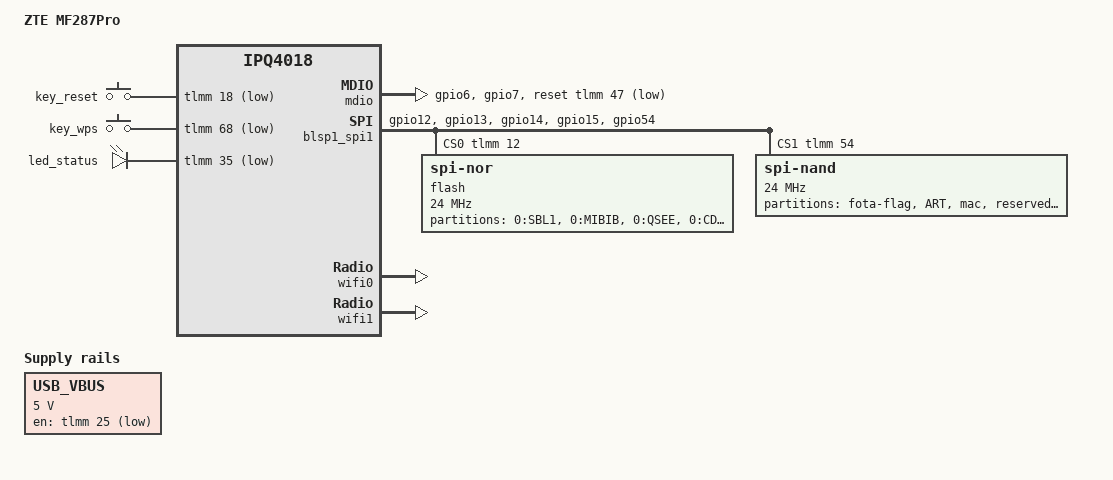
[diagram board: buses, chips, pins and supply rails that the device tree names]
// SPDX-License-Identifier: GPL-2.0-or-later OR MIT
// Copyright (c) 2022, Pawel Dembicki <paweldembicki@gmail.com>.
// Copyright (c) 2022, Giammarco Marzano <stich86@gmail.com>.
// Copyright (c) 2023, Andreas Böhler <dev@aboehler.at>

#include "qcom-ipq4018-mf287_common.dtsi"

/ {
	model = "ZTE MF287Pro";
	compatible = "zte,mf287pro";

	regulator-usb-vbus {
		compatible = "regulator-fixed";
		regulator-name = "USB_VBUS";
		regulator-min-microvolt = <5000000>;
		regulator-max-microvolt = <5000000>;
		regulator-always-on;
		regulator-boot-on;
		gpio = <&tlmm 25 GPIO_ACTIVE_LOW>;
	};
};

&gpio_modem_reset {
	gpios = <&tlmm 8 GPIO_ACTIVE_HIGH>;
};

&key_reset {
	gpios = <&tlmm 18 GPIO_ACTIVE_LOW>;
};

&key_wps {
	gpios = <&tlmm 68 GPIO_ACTIVE_LOW>;
};

&led_status {
	gpios = <&tlmm 35 GPIO_ACTIVE_LOW>;
};

&mdio {
	status = "okay";
	pinctrl-0 = <&mdio_pins>;
	pinctrl-names = "default";
	reset-gpios = <&tlmm 47 GPIO_ACTIVE_LOW>;
	reset-delay-us = <2000>;
};

&blsp1_spi1 {
	pinctrl-0 = <&spi_0_pins>;
	pinctrl-names = "default";
	status = "okay";
	cs-gpios = <&tlmm 12 GPIO_ACTIVE_HIGH>,
				<&tlmm 54 GPIO_ACTIVE_HIGH>;

	flash@0 {
		compatible = "jedec,spi-nor";
		#address-cells = <1>;
		#size-cells = <1>;
		reg = <0>;
		spi-max-frequency = <24000000>;

		partitions {
			compatible = "fixed-partitions";
			#address-cells = <1>;
			#size-cells = <1>;

			partition@0 {
				label = "0:SBL1";
				reg = <0x0 0x40000>;
				read-only;
			};

			partition@40000 {
				label = "0:MIBIB";
				reg = <0x40000 0x20000>;
				read-only;
			};

			partition@60000 {
				label = "0:QSEE";
				reg = <0x60000 0x60000>;
				read-only;
			};

			partition@c0000 {
				label = "0:CDT";
				reg = <0xc0000 0x10000>;
				read-only;
			};

			partition@d0000 {
				label = "0:DDRPARAMS";
				reg = <0xd0000 0x10000>;
				read-only;
			};

			partition@e0000 {
				label = "0:APPSBLENV";
				reg = <0xe0000 0x10000>;
				read-only;
			};

			partition@f0000 {
				label = "0:APPSBL";
				reg = <0xf0000 0xc0000>;
				read-only;
			};

			partition@1b0000 {
				label = "0:reserved1";
				reg = <0x1b0000 0x50000>;
				read-only;
			};
		};
	};

	spi-nand@1 { /* flash@1 ? */
		compatible = "spi-nand";
		reg = <1>;
		spi-max-frequency = <24000000>;

		partitions {
			compatible = "fixed-partitions";
			#address-cells = <1>;
			#size-cells = <1>;

			partition@0 {
				label = "fota-flag";
				reg = <0x0 0xa0000>;
				read-only;
			};

			partition@a0000 {
				label = "ART";
				reg = <0xa0000 0x80000>;
				read-only;

				nvmem-layout {
					compatible = "fixed-layout";
					#address-cells = <1>;
					#size-cells = <1>;

					precal_art_1000: precal@1000 {
						reg = <0x1000 0x2f20>;
					};

					precal_art_5000: precal@5000 {
						reg = <0x5000 0x2f20>;
					};
				};
			};

			partition@120000 {
				label = "mac";
				reg = <0x120000 0x80000>;
				read-only;

				nvmem-layout {
					compatible = "fixed-layout";
					#address-cells = <1>;
					#size-cells = <1>;

					macaddr_mac_0: macaddr@0 {
						compatible = "mac-base";
						reg = <0x0 0x6>;
						#nvmem-cell-cells = <1>;
					};
				};
			};

			partition@1a0000 {
				label = "reserved2";
				reg = <0x1a0000 0xc0000>;
			};

			partition@260000 {
				label = "cfg-param";
				reg = <0x260000 0x400000>;
				read-only;
			};

			partition@660000 {
				label = "log";
				reg = <0x660000 0x400000>;
			};

			partition@a60000 {
				label = "oops";
				reg = <0xa60000 0xa0000>;
			};

			partition@b00000 {
				label = "reserved3";
				reg = <0xb00000 0x500000>;
			};

			partition@1000000 {
				label = "web";
				reg = <0x1000000 0x800000>;
			};

			partition@1800000 {
				label = "rootfs";
				reg = <0x1800000 0x1d00000>;
			};

			partition@3500000 {
				label = "data";
				reg = <0x3500000 0x1900000>;
			};

			partition@4e00000 {
				label = "fota";
				reg = <0x4e00000 0x3200000>;
			};
		};
	};
};

&tlmm {
	i2c_0_pins: i2c_0_pinmux {
		mux {
			pins = "gpio20", "gpio21";
			function = "blsp_i2c0";
			bias-disable;
		};
	};

	mdio_pins: mdio_pinmux {
		mux_1 {
			pins = "gpio6";
			function = "mdio";
			bias-pull-up;
		};

		mux_2 {
			pins = "gpio7";
			function = "mdc";
			bias-pull-up;
		};
	};

	serial_pins: serial_pinmux {
		mux {
			pins = "gpio16", "gpio17";
			function = "blsp_uart0";
			bias-disable;
		};
	};

	spi_0_pins: spi_0_pinmux {
		pinmux {
			function = "blsp_spi0";
			pins = "gpio12", "gpio13", "gpio14", "gpio15";
			drive-strength = <12>;
			bias-disable;
		};

		pinmux_cs {
			function = "gpio";
			pins = "gpio12", "gpio54";
			drive-strength = <2>;
			bias-disable;
			output-high;
		};
	};
};

/* The MF287Plus and MF287Pro share the same board data file */
&wifi0 {
	qcom,ath10k-calibration-variant = "zte,mf287plus";
};

/* The MF287Plus and MF287Pro share the same board data file */
&wifi1{
	qcom,ath10k-calibration-variant = "zte,mf287plus";
};
